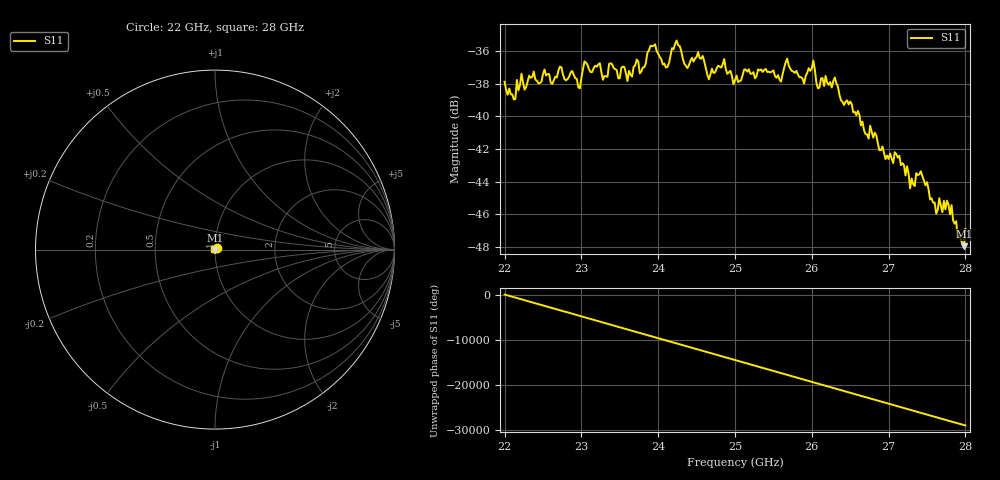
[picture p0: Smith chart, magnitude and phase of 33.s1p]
#  HZ  S  RI  R  50.00
! Rohde & Schwarz ZVA40 4Ports - Version 3.90 - 1145.1110k42 SN: 100403
! Date: 2023-10-04 07:29:28
! Measurement: S12
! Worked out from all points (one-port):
!   301 points, 22 GHz to 28 GHz, reference 50 ohm
!   lowest |S11| = -47.9 dB at 27.98 GHz (marker M1), VSWR 1.01, Z = 49.9 - j0.395 ohm
!   |S11| at or under -10 dB: start of sweep to end of sweep
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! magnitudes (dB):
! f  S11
! 22 GHz  -37.9
! 22.12 GHz  -39.0
! 22.22 GHz  -37.4
! 22.26 GHz  -38.4
! 22.38 GHz  -37.3
! 22.76 GHz  -37.5
! 23.5 GHz  -37.7
! 23.96 GHz  -35.6
! 24.12 GHz  -37.0
! 24.26 GHz  -35.7
! 24.38 GHz  -37.1
! 24.52 GHz  -36.1
! 24.66 GHz  -37.7
! 24.86 GHz  -36.5
! 25 GHz  -37.8
! 25.76 GHz  -37.3
! 25.9 GHz  -38.0
! 26.02 GHz  -36.6
! 26.08 GHz  -38.3
! 26.3 GHz  -37.6
! 26.5 GHz  -39.1
! 27.26 GHz  -43.5
! 27.28 GHz  -44.4
! 27.42 GHz  -43.4
! 27.62 GHz  -46.0
! 27.82 GHz  -45.4
! 27.98 GHz  -47.9
! 28 GHz  -46.9
